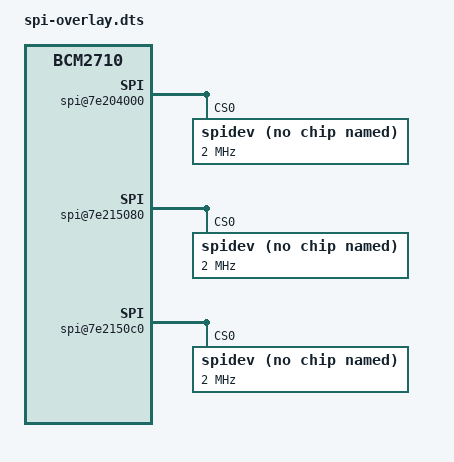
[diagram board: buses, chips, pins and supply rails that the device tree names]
// Enable spi
/dts-v1/;
/plugin/;

/ {
	compatible = "brcm,bcm2710";

	fragment@0 {
		target-path = "/soc/spi@7e204000";
		__overlay__ {
			status = "okay";
			spi-max-frequency = <2000000>;
			spidev@0 {
				compatible = "spidev";
				spi-max-frequency = <2000000>;
				reg = <0>;
			};
		};
	};

	fragment@1 {
		target-path = "/soc/spi@7e215080";
		__overlay__ {
			status = "okay";
			spi-max-frequency = <2000000>;
			spidev@0 {
				compatible = "spidev";
				spi-max-frequency = <2000000>;
				reg = <0>;
			};
		};
	};

	fragment@2 {
		target-path = "/soc/spi@7e2150c0";
		__overlay__ {
			status = "okay";
			spi-max-frequency = <2000000>;
			spidev@0 {
				compatible = "spidev";
				spi-max-frequency = <2000000>;
				reg = <0>;
			};
		};
	};
};
